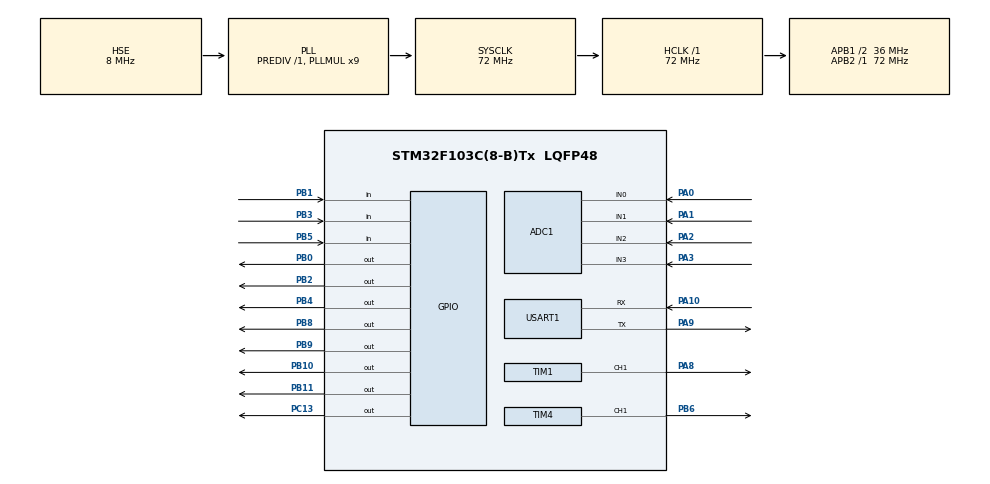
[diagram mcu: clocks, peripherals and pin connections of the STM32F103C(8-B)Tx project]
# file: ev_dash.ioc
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ADC1.Channel-0\#ChannelRegularConversion=ADC_CHANNEL_0
ADC1.ContinuousConvMode=DISABLE
ADC1.NbrOfConversion=1
ADC1.NbrOfConversionFlag=1
ADC1.Rank-0\#ChannelRegularConversion=1
ADC1.SamplingTime-0\#ChannelRegularConversion=ADC_SAMPLETIME_1CYCLE_5
ADC1.master=1
Mcu.Family=STM32F1
Mcu.Name=STM32F103C(8-B)Tx
Mcu.Package=LQFP48
NVIC.PriorityGroup=NVIC_PRIORITYGROUP_4
NVIC.TIM1_UP_IRQn=true\:0\:0\:false\:false\:true\:true\:true\:true
NVIC.TIM2_IRQn=true\:0\:0\:false\:false\:true\:true\:true\:true
NVIC.TIM3_IRQn=true\:0\:0\:false\:false\:true\:true\:true\:true
NVIC.TIM4_IRQn=true\:0\:0\:false\:false\:true\:true\:true\:true
PA0-WKUP.Signal=ADCx_IN0
PA1.Signal=ADCx_IN1
PA10.Mode=Asynchronous
PA10.Signal=USART1_RX
PA2.Signal=ADCx_IN2
PA3.Signal=ADCx_IN3
PA8.Signal=S_TIM1_CH1
PA9.Mode=Asynchronous
PA9.Signal=USART1_TX
PB0.Signal=GPIO_Output
PB1.Signal=GPIO_Input
PB10.Signal=GPIO_Output
PB11.Signal=GPIO_Output
PB2.Signal=GPIO_Output
PB3.Signal=GPIO_Input
PB4.Signal=GPIO_Output
PB5.Signal=GPIO_Input
PB6.Signal=S_TIM4_CH1
PB8.Signal=GPIO_Output
PB9.Signal=GPIO_Output
PC13-TAMPER-RTC.Signal=GPIO_Output
PD0-OSC_IN.Mode=HSE-External-Oscillator
PD0-OSC_IN.Signal=RCC_OSC_IN
PD1-OSC_OUT.Mode=HSE-External-Oscillator
PD1-OSC_OUT.Signal=RCC_OSC_OUT
ProjectManager.HeapSize=0x200
ProjectManager.StackSize=0x400
ProjectManager.TargetToolchain=STM32CubeIDE
RCC.ADCPresc=RCC_ADCPCLK2_DIV6
RCC.AHBFreq_Value=72000000
RCC.APB1CLKDivider=RCC_HCLK_DIV2
RCC.APB1Freq_Value=36000000
RCC.APB1TimFreq_Value=72000000
RCC.APB2Freq_Value=72000000
RCC.APB2TimFreq_Value=72000000
RCC.HCLKFreq_Value=72000000
RCC.PLLMUL=RCC_PLL_MUL9
RCC.PLLSourceVirtual=RCC_PLLSOURCE_HSE
RCC.SYSCLKFreq_VALUE=72000000
RCC.SYSCLKSource=RCC_SYSCLKSOURCE_PLLCLK
RCC.USBFreq_Value=72000000
SH.ADCx_IN0.0=ADC1_IN0,IN0
SH.ADCx_IN1.0=ADC1_IN1,IN1
SH.ADCx_IN2.0=ADC1_IN2,IN2
SH.ADCx_IN3.0=ADC1_IN3,IN3
SH.S_TIM1_CH1.0=TIM1_CH1,PWM Generation1 CH1
SH.S_TIM4_CH1.0=TIM4_CH1,PWM Generation1 CH1
TIM1.Channel-PWM\ Generation1\ CH1=TIM_CHANNEL_1
TIM1.Period=9999
TIM1.Prescaler=71
TIM3.Period=999
TIM3.Prescaler=7199
TIM4.Channel-PWM\ Generation1\ CH1=TIM_CHANNEL_1
USART1.VirtualMode=VM_ASYNC
VP_SYS_VS_ND.Mode=No_Debug
VP_TIM1_VS_ClockSourceINT.Mode=Internal
VP_TIM2_VS_ClockSourceINT.Mode=Internal
VP_TIM3_VS_ClockSourceINT.Mode=Internal
VP_TIM4_VS_ClockSourceINT.Mode=Internal
board=custom

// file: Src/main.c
/* USER CODE BEGIN Header */
/**
  ******************************************************************************
  * @file           : main.c
  * @brief          : Main program body
  ******************************************************************************
  * @attention
  *
  * Copyright (c) 2026 STMicroelectronics.
  * All rights reserved.
  *
  * This software is licensed under terms that can be found in the LICENSE file
  * in the root directory of this software component.
  * If no LICENSE file comes with this software, it is provided AS-IS.
  *
  ******************************************************************************
  */
/* USER CODE END Header */
#include "main.h"
#include <stdio.h>
#include <string.h>
#include "ev_control.h"
#include "ultrasonic.h"
#include "common.h"
#include "adas.h"
#include "fault.h"
#include "uart_shell.h"

EV_HandleTypeDef ev;
ADAS_HandleTypeDef adas;
Fault_HandleTypeDef flt;

/*   Isr flags------------*/
volatile uint8_t flag_ev = 0;
volatile uint8_t sensor_flag = 0;
/* UART rx byte*/
static uint8_t rx_byte;
uint8_t rx_data = 0;

/* counter------------------------------------------------*/
static uint8_t ev_div = 0;
static uint8_t loop_count = 0;

char msg[100];

void HAL_TIM_PeriodElapsedCallback(TIM_HandleTypeDef *htim)
{
    if(htim->Instance == TIM1)
        flag_ev = 1;      /* 10ms EV tick */

    if(htim->Instance == TIM3)
        sensor_flag = 1;  /* 100ms ultrasonic tick */
}

ADC_HandleTypeDef hadc1;

TIM_HandleTypeDef htim1;
TIM_HandleTypeDef htim2;
TIM_HandleTypeDef htim3;
TIM_HandleTypeDef htim4;

UART_HandleTypeDef huart1;

void SystemClock_Config(void);
static void MX_GPIO_Init(void);
static void MX_ADC1_Init(void);
static void MX_USART1_UART_Init(void);
static void MX_TIM1_Init(void);
static void MX_TIM3_Init(void);
static void MX_TIM2_Init(void);
static void MX_TIM4_Init(void);
static void Print_Status(void);

int main(void)
{

  /* MCU Configuration--------------------------------------------------------*/

  /* Reset of all peripherals, Initializes the Flash interface and the Systick. */
  HAL_Init();

  /* Configure the system clock */
  SystemClock_Config();

  /* Initialize all configured peripherals */
  MX_GPIO_Init();
  MX_ADC1_Init();
  MX_USART1_UART_Init();
  MX_TIM1_Init();
  MX_TIM3_Init();
  MX_TIM2_Init();
  MX_TIM4_Init();
  /* USER CODE BEGIN 2 */
  HAL_TIM_Base_Start_IT(&htim1);  // TIM1: 10ms IRQ
  HAL_TIM_Base_Start(&htim2);     // counter ever 1us
  HAL_TIM_Base_Start_IT(&htim3); // TIM1: 100ms IRQ

  /*start interrupt on receiving the data*/
  HAL_UART_Receive_IT(&huart1, &rx_byte, 1);

  EV_Init(&ev); //ev
  HCSR04_Init();//ultrasonic

  ADAS_Init( &adas); //initialize l r f -> 400cm
  Fault_Init(&flt);
  Shell_Init(&huart1, &ev, &adas, &flt );// flag-> none, active = 0

  float seed = Read_ADC_Channel(ADC_CHANNEL_2);
  EV_InjectSOC(&ev,seed);

  /* USER CODE END 2 */

  /* Infinite loop */
  /* USER CODE BEGIN WHILE */
	  /* USER CODE BEGIN WHILE */
	  while (1)
	  {
	      /* ── EV update every 10ms via TIM1 flag ─────────────────── */
	      if (flag_ev) {
	          flag_ev = 0;

	          EV_ReadADC(&ev);
	          EV_Update(&ev, 0.01f);   /* dt = 10ms */

	          /* Print every 1000ms (every 10 EV ticks) */
	          if (++ev_div >= 10) {
	              ev_div = 0;

	              Print_Status();

	          }
	      }
	      if(sensor_flag ==1) //100ms tick
	      {
	    	  sensor_flag = 0;
	    	  HCSR04_ReadAll();

	    	  // update TTC , alarms, BSD
	    	  ADAS_Update(&adas, &ev);
	    	  // validating motor temp , soc and collision update fault flag
	    	  Fault_Check(&flt, &ev, &adas);
	    	  // waiting to receive the data and process the cmd
	    	  Shell_Process();

	      }

	  }
    /* USER CODE END WHILE */

}

void HAL_UART_RxCpltCallback(UART_HandleTypeDef *huart)
{
    if (huart->Instance == USART1)
    {
        // Your received data processing
    	Shell_PushByte(rx_byte);
        HAL_UART_Receive_IT(&huart1, &rx_data, 1);   // Restart reception
    }
}
static void Print_Status(void)
{
    char msg[180];

    /* Split floats into integer + decimal parts */
    int spd  = (int)ev.speed_kmh;
    int spdd = (int)(ev.speed_kmh  * 10.0f) % 10;
    int soc  = (int)ev.soc;
    int socd = (int)(ev.soc        * 10.0f) % 10;
    int tmp  = (int)ev.motor_temp;
    int tmpd = (int)(ev.motor_temp * 10.0f) % 10;
    int trq  = (int)ev.motor_torque;
    int acc  = (int)ev.accel_pedal;
    int brk  = (int)ev.brake_pedal;
    int rng  = (int)ev.range_km;

    int ttcs = (int)adas.ttc_sec;
    int ttcd = (int)(adas.ttc_sec * 10.0f) % 10;
    int frnt = (int)adas.front_cm;
    int left = (int)adas.left_cm;
    int rght = (int)adas.right_cm;

    /* Line 1: EV data */
    sprintf(msg,
        "SPD:%d.%d SOC:%d.%d TRQ:%d TMP:%d.%d RNG:%d ACC:%d BRK:%d\r\n",
        spd, spdd,
        soc, socd,
        trq,
        tmp, tmpd,
        rng,
        acc, brk);
    HAL_UART_Transmit(&huart1, (uint8_t*)msg, strlen(msg), 100);

    /* Line 2: ADAS + fault */
    sprintf(msg,
        "F:%d L:%d R:%d TTC:%d.%ds COL:%d BSD:%d%d ALM:%d FLT:%02X\r\n",
        frnt, left, rght,
        ttcs, ttcd,
        adas.collision_warn,
        adas.blindspot_left, adas.blindspot_right,
        (int)adas.alarm_priority,
        flt.flags);
    HAL_UART_Transmit(&huart1, (uint8_t*)msg, strlen(msg), 100);
}

void SystemClock_Config(void)
{
  RCC_OscInitTypeDef RCC_OscInitStruct = {0};
  RCC_ClkInitTypeDef RCC_ClkInitStruct = {0};
  RCC_PeriphCLKInitTypeDef PeriphClkInit = {0};

  /** Initializes the RCC Oscillators according to the specified parameters
  * in the RCC_OscInitTypeDef structure.
  */
  RCC_OscInitStruct.OscillatorType = RCC_OSCILLATORTYPE_HSE;
  RCC_OscInitStruct.HSEState = RCC_HSE_ON;
  RCC_OscInitStruct.HSEPredivValue = RCC_HSE_PREDIV_DIV1;
  RCC_OscInitStruct.HSIState = RCC_HSI_ON;
  RCC_OscInitStruct.PLL.PLLState = RCC_PLL_ON;
  RCC_OscInitStruct.PLL.PLLSource = RCC_PLLSOURCE_HSE;
  RCC_OscInitStruct.PLL.PLLMUL = RCC_PLL_MUL9;
  if (HAL_RCC_OscConfig(&RCC_OscInitStruct) != HAL_OK)
  {
    Error_Handler();
  }

  /** Initializes the CPU, AHB and APB buses clocks
  */
  RCC_ClkInitStruct.ClockType = RCC_CLOCKTYPE_HCLK|RCC_CLOCKTYPE_SYSCLK
                              |RCC_CLOCKTYPE_PCLK1|RCC_CLOCKTYPE_PCLK2;
  RCC_ClkInitStruct.SYSCLKSource = RCC_SYSCLKSOURCE_PLLCLK;
  RCC_ClkInitStruct.AHBCLKDivider = RCC_SYSCLK_DIV1;
  RCC_ClkInitStruct.APB1CLKDivider = RCC_HCLK_DIV2;
  RCC_ClkInitStruct.APB2CLKDivider = RCC_HCLK_DIV1;

  if (HAL_RCC_ClockConfig(&RCC_ClkInitStruct, FLASH_LATENCY_2) != HAL_OK)
  {
    Error_Handler();
  }
  PeriphClkInit.PeriphClockSelection = RCC_PERIPHCLK_ADC;
  PeriphClkInit.AdcClockSelection = RCC_ADCPCLK2_DIV6;
  if (HAL_RCCEx_PeriphCLKConfig(&PeriphClkInit) != HAL_OK)
  {
    Error_Handler();
  }
}

static void MX_ADC1_Init(void)
{

  ADC_ChannelConfTypeDef sConfig = {0};

  /** Common config
  */
  hadc1.Instance = ADC1;
  hadc1.Init.ScanConvMode = ADC_SCAN_DISABLE;
  hadc1.Init.ContinuousConvMode = DISABLE;
  hadc1.Init.DiscontinuousConvMode = DISABLE;
  hadc1.Init.ExternalTrigConv = ADC_SOFTWARE_START;
  hadc1.Init.DataAlign = ADC_DATAALIGN_RIGHT;
  hadc1.Init.NbrOfConversion = 1;
  if (HAL_ADC_Init(&hadc1) != HAL_OK)
  {
    Error_Handler();
  }

  /** Configure Regular Channel
  */
  sConfig.Channel = ADC_CHANNEL_0;
  sConfig.Rank = ADC_REGULAR_RANK_1;
  sConfig.SamplingTime = ADC_SAMPLETIME_1CYCLE_5;
  if (HAL_ADC_ConfigChannel(&hadc1, &sConfig) != HAL_OK)
  {
    Error_Handler();
  }

}

static void MX_TIM1_Init(void)
{

  TIM_ClockConfigTypeDef sClockSourceConfig = {0};
  TIM_MasterConfigTypeDef sMasterConfig = {0};
  TIM_OC_InitTypeDef sConfigOC = {0};
  TIM_BreakDeadTimeConfigTypeDef sBreakDeadTimeConfig = {0};

  htim1.Instance = TIM1;
  htim1.Init.Prescaler = 71;
  htim1.Init.CounterMode = TIM_COUNTERMODE_UP;
  htim1.Init.Period = 9999;
  htim1.Init.ClockDivision = TIM_CLOCKDIVISION_DIV1;
  htim1.Init.RepetitionCounter = 0;
  htim1.Init.AutoReloadPreload = TIM_AUTORELOAD_PRELOAD_DISABLE;
  if (HAL_TIM_Base_Init(&htim1) != HAL_OK)
  {
    Error_Handler();
  }
  sClockSourceConfig.ClockSource = TIM_CLOCKSOURCE_INTERNAL;
  if (HAL_TIM_ConfigClockSource(&htim1, &sClockSourceConfig) != HAL_OK)
  {
    Error_Handler();
  }
  if (HAL_TIM_PWM_Init(&htim1) != HAL_OK)
  {
    Error_Handler();
  }
  sMasterConfig.MasterOutputTrigger = TIM_TRGO_RESET;
  sMasterConfig.MasterSlaveMode = TIM_MASTERSLAVEMODE_DISABLE;
  if (HAL_TIMEx_MasterConfigSynchronization(&htim1, &sMasterConfig) != HAL_OK)
  {
    Error_Handler();
  }
  sConfigOC.OCMode = TIM_OCMODE_PWM1;
  sConfigOC.Pulse = 0;
  sConfigOC.OCPolarity = TIM_OCPOLARITY_HIGH;
  sConfigOC.OCNPolarity = TIM_OCNPOLARITY_HIGH;
  sConfigOC.OCFastMode = TIM_OCFAST_DISABLE;
  sConfigOC.OCIdleState = TIM_OCIDLESTATE_RESET;
  sConfigOC.OCNIdleState = TIM_OCNIDLESTATE_RESET;
  if (HAL_TIM_PWM_ConfigChannel(&htim1, &sConfigOC, TIM_CHANNEL_1) != HAL_OK)
  {
    Error_Handler();
  }
  sBreakDeadTimeConfig.OffStateRunMode = TIM_OSSR_DISABLE;
  sBreakDeadTimeConfig.OffStateIDLEMode = TIM_OSSI_DISABLE;
  sBreakDeadTimeConfig.LockLevel = TIM_LOCKLEVEL_OFF;
  sBreakDeadTimeConfig.DeadTime = 0;
  sBreakDeadTimeConfig.BreakState = TIM_BREAK_DISABLE;
  sBreakDeadTimeConfig.BreakPolarity = TIM_BREAKPOLARITY_HIGH;
  sBreakDeadTimeConfig.AutomaticOutput = TIM_AUTOMATICOUTPUT_DISABLE;
  if (HAL_TIMEx_ConfigBreakDeadTime(&htim1, &sBreakDeadTimeConfig) != HAL_OK)
  {
    Error_Handler();
  }
  HAL_TIM_MspPostInit(&htim1);

}

static void MX_TIM2_Init(void)
{

  TIM_ClockConfigTypeDef sClockSourceConfig = {0};
  TIM_MasterConfigTypeDef sMasterConfig = {0};

  htim2.Instance = TIM2;
  htim2.Init.Prescaler = 71;
  htim2.Init.CounterMode = TIM_COUNTERMODE_UP;
  htim2.Init.Period = 65535;
  htim2.Init.ClockDivision = TIM_CLOCKDIVISION_DIV1;
  htim2.Init.AutoReloadPreload = TIM_AUTORELOAD_PRELOAD_DISABLE;
  if (HAL_TIM_Base_Init(&htim2) != HAL_OK)
  {
    Error_Handler();
  }
  sClockSourceConfig.ClockSource = TIM_CLOCKSOURCE_INTERNAL;
  if (HAL_TIM_ConfigClockSource(&htim2, &sClockSourceConfig) != HAL_OK)
  {
    Error_Handler();
  }
  sMasterConfig.MasterOutputTrigger = TIM_TRGO_RESET;
  sMasterConfig.MasterSlaveMode = TIM_MASTERSLAVEMODE_DISABLE;
  if (HAL_TIMEx_MasterConfigSynchronization(&htim2, &sMasterConfig) != HAL_OK)
  {
    Error_Handler();
  }

}

static void MX_TIM3_Init(void)
{

  TIM_ClockConfigTypeDef sClockSourceConfig = {0};
  TIM_MasterConfigTypeDef sMasterConfig = {0};

  htim3.Instance = TIM3;
  htim3.Init.Prescaler = 7199;
  htim3.Init.CounterMode = TIM_COUNTERMODE_UP;
  htim3.Init.Period = 999;
  htim3.Init.ClockDivision = TIM_CLOCKDIVISION_DIV1;
  htim3.Init.AutoReloadPreload = TIM_AUTORELOAD_PRELOAD_DISABLE;
  if (HAL_TIM_Base_Init(&htim3) != HAL_OK)
  {
    Error_Handler();
  }
  sClockSourceConfig.ClockSource = TIM_CLOCKSOURCE_INTERNAL;
  if (HAL_TIM_ConfigClockSource(&htim3, &sClockSourceConfig) != HAL_OK)
  {
    Error_Handler();
  }
  sMasterConfig.MasterOutputTrigger = TIM_TRGO_RESET;
  sMasterConfig.MasterSlaveMode = TIM_MASTERSLAVEMODE_DISABLE;
  if (HAL_TIMEx_MasterConfigSynchronization(&htim3, &sMasterConfig) != HAL_OK)
  {
    Error_Handler();
  }

}

static void MX_TIM4_Init(void)
{

  TIM_ClockConfigTypeDef sClockSourceConfig = {0};
  TIM_MasterConfigTypeDef sMasterConfig = {0};
  TIM_OC_InitTypeDef sConfigOC = {0};

  htim4.Instance = TIM4;
  htim4.Init.Prescaler = 71;
  htim4.Init.CounterMode = TIM_COUNTERMODE_UP;
  htim4.Init.Period = 65535;
  htim4.Init.ClockDivision = TIM_CLOCKDIVISION_DIV1;
  htim4.Init.AutoReloadPreload = TIM_AUTORELOAD_PRELOAD_DISABLE;
  if (HAL_TIM_Base_Init(&htim4) != HAL_OK)
  {
    Error_Handler();
  }
  sClockSourceConfig.ClockSource = TIM_CLOCKSOURCE_INTERNAL;
  if (HAL_TIM_ConfigClockSource(&htim4, &sClockSourceConfig) != HAL_OK)
  {
    Error_Handler();
  }
  if (HAL_TIM_PWM_Init(&htim4) != HAL_OK)
  {
    Error_Handler();
  }
  sMasterConfig.MasterOutputTrigger = TIM_TRGO_RESET;
  sMasterConfig.MasterSlaveMode = TIM_MASTERSLAVEMODE_DISABLE;
  if (HAL_TIMEx_MasterConfigSynchronization(&htim4, &sMasterConfig) != HAL_OK)
  {
    Error_Handler();
  }
  sConfigOC.OCMode = TIM_OCMODE_PWM1;
  sConfigOC.Pulse = 0;
  sConfigOC.OCPolarity = TIM_OCPOLARITY_HIGH;
  sConfigOC.OCFastMode = TIM_OCFAST_DISABLE;
  if (HAL_TIM_PWM_ConfigChannel(&htim4, &sConfigOC, TIM_CHANNEL_1) != HAL_OK)
  {
    Error_Handler();
  }
  HAL_TIM_MspPostInit(&htim4);

}

static void MX_USART1_UART_Init(void)
{

  huart1.Instance = USART1;
  huart1.Init.BaudRate = 115200;
  huart1.Init.WordLength = UART_WORDLENGTH_8B;
  huart1.Init.StopBits = UART_STOPBITS_1;
  huart1.Init.Parity = UART_PARITY_NONE;
  huart1.Init.Mode = UART_MODE_TX_RX;
  huart1.Init.HwFlowCtl = UART_HWCONTROL_NONE;
  huart1.Init.OverSampling = UART_OVERSAMPLING_16;
  if (HAL_UART_Init(&huart1) != HAL_OK)
  {
    Error_Handler();
  }

}

static void MX_GPIO_Init(void)
{
  GPIO_InitTypeDef GPIO_InitStruct = {0};

  /* GPIO Ports Clock Enable */
  __HAL_RCC_GPIOC_CLK_ENABLE();
  __HAL_RCC_GPIOD_CLK_ENABLE();
  __HAL_RCC_GPIOA_CLK_ENABLE();
  __HAL_RCC_GPIOB_CLK_ENABLE();

  /*Configure GPIO pin Output Level */
  HAL_GPIO_WritePin(GPIOC, GPIO_PIN_13, GPIO_PIN_RESET);

  /*Configure GPIO pin Output Level */
  HAL_GPIO_WritePin(GPIOB, GPIO_PIN_0|GPIO_PIN_2|GPIO_PIN_10|GPIO_PIN_11
                          |GPIO_PIN_4|GPIO_PIN_8|GPIO_PIN_9, GPIO_PIN_RESET);

  /*Configure GPIO pin : PC13 */
  GPIO_InitStruct.Pin = GPIO_PIN_13;
  GPIO_InitStruct.Mode = GPIO_MODE_OUTPUT_PP;
  GPIO_InitStruct.Pull = GPIO_NOPULL;
  GPIO_InitStruct.Speed = GPIO_SPEED_FREQ_LOW;
  HAL_GPIO_Init(GPIOC, &GPIO_InitStruct);

  /*Configure GPIO pins : PB0 PB2 PB10 PB11
                           PB4 PB8 PB9 */
  GPIO_InitStruct.Pin = GPIO_PIN_0|GPIO_PIN_2|GPIO_PIN_10|GPIO_PIN_11
                          |GPIO_PIN_4|GPIO_PIN_8|GPIO_PIN_9;
  GPIO_InitStruct.Mode = GPIO_MODE_OUTPUT_PP;
  GPIO_InitStruct.Pull = GPIO_NOPULL;
  GPIO_InitStruct.Speed = GPIO_SPEED_FREQ_LOW;
  HAL_GPIO_Init(GPIOB, &GPIO_InitStruct);

  /*Configure GPIO pins : PB1 PB3 PB5 */
  GPIO_InitStruct.Pin = GPIO_PIN_1|GPIO_PIN_3|GPIO_PIN_5;
  GPIO_InitStruct.Mode = GPIO_MODE_INPUT;
  GPIO_InitStruct.Pull = GPIO_NOPULL;
  HAL_GPIO_Init(GPIOB, &GPIO_InitStruct);

}

void Error_Handler(void)
{
  __disable_irq();
  while (1)
  {
  }
}
